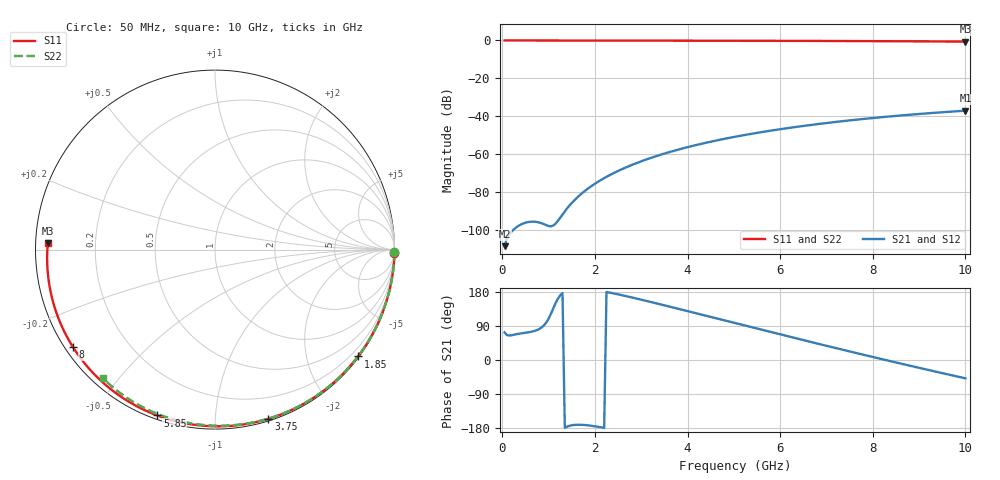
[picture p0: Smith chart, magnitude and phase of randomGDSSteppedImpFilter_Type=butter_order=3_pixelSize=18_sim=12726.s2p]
! freq	dB(S11)	phase(S11)	dB(S12)	phase(S12)
!  dB(S21)	phase(S21)	dB(S22)	phase(S22)
!S-par simulation data
#  GHz  S  DB  R 50
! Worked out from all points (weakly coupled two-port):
!   200 points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, 50 MHz to 10 GHz, reference 50 ohm
!   highest |S21| = -37.12 dB at 10 GHz (marker M1); lowest = -108.7 dB at 50 MHz (marker M2)
!   lowest |S11| = -0.6 dB at 10 GHz (marker M3), VSWR 28.50, Z = 1.75 + j1.01 ohm
!   |S11| at or under -10 dB: nowhere
!   |S22| runs from -0.4 to 0.0 dB; largest |S21 - S12| = 0
!   S11 on the Smith chart (normalised r, x): 50 MHz: open; 1.85 GHz: 0.03, -3.01; 3.75 GHz: 0.02, -1.36; 5.85 GHz: 0.02, -0.71; 8 GHz: 0.02, -0.31; 10 GHz: 0.04, +0.02
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0.05  -0.00 -1.0  -108.74 73.0  -108.74 73.0  -0.00 -0.8
0.45  -0.01 -9.1  -96.78 71.0  -96.78 71.0  -0.01 -6.8
0.85  -0.02 -17.1  -96.66 85.9  -96.66 85.9  -0.02 -12.8
1.3  -0.03 -26.0  -91.98 176.7  -91.98 176.7  -0.02 -19.5
1.75  -0.04 -34.8  -80.18 -171.3  -80.18 -171.3  -0.03 -26.2
1.85  -0.05 -36.8  -78.28 -172.4  -78.28 -172.4  -0.04 -27.6
2.15  -0.05 -42.6  -73.46 -178.1  -73.46 -178.1  -0.04 -32.0
2.5  -0.06 -49.3  -68.98 173.3  -68.98 173.3  -0.05 -37.0
2.9  -0.07 -56.8  -64.81 162.1  -64.81 162.1  -0.06 -42.8
3.4  -0.09 -66.1  -60.55 147.3  -60.55 147.3  -0.07 -49.8
3.75  -0.10 -72.5  -58.03 136.7  -58.03 136.7  -0.07 -54.6
4.4  -0.12 -84.1  -54.07 116.7  -54.07 116.7  -0.09 -63.5
5.05  -0.15 -95.5  -50.80 96.6  -50.80 96.6  -0.11 -72.1
5.85  -0.19 -109.2  -47.47 72.1  -47.47 72.1  -0.14 -82.3
6.7  -0.24 -123.6  -44.55 46.4  -44.55 46.4  -0.18 -92.9
7.35  -0.30 -134.5  -42.65 27.1  -42.65 27.1  -0.22 -100.7
8  -0.36 -145.7  -41.00 8.0  -41.00 8.0  -0.26 -108.4
8.35  -0.39 -151.8  -40.20 -2.2  -40.20 -2.2  -0.29 -112.5
8.8  -0.45 -159.7  -39.25 -15.0  -39.25 -15.0  -0.32 -117.6
9.2  -0.50 -167.0  -38.48 -26.3  -38.48 -26.3  -0.36 -122.2
9.6  -0.55 -174.5  -37.77 -37.4  -37.77 -37.4  -0.40 -126.7
10  -0.61 177.7  -37.12 -48.3  -37.12 -48.3  -0.44 -131.2
